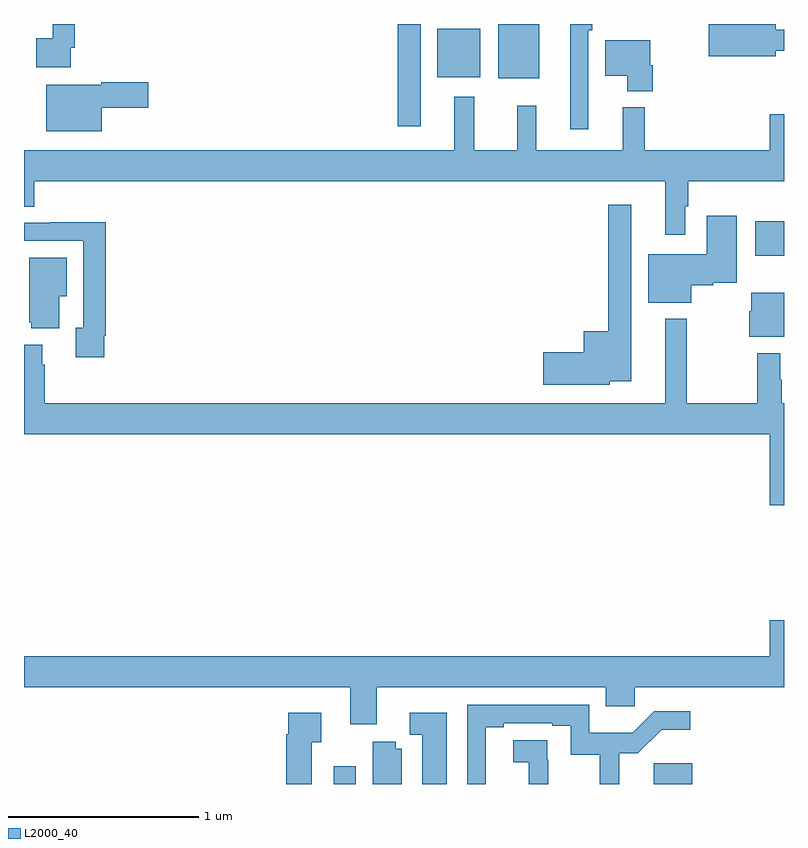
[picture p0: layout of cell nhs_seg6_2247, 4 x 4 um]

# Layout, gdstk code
import gdstk
lib = gdstk.Library(unit=1e-6, precision=1e-09)
def R(c, l, rs):  # rectangles x0, y0, x1, y1
    for r in rs: c.add(gdstk.rectangle(r[:2], r[2:], *l))
def P(c, l, *ps):  # polygons
    for p in ps: c.add(gdstk.Polygon(p, *l))
L2000_40 = (2000, 40)

nhs_seg6_2247 = lib.new_cell('nhs_seg6_2247')
R(nhs_seg6_2247, L2000_40, [(246.63,941.5,246.747,941.593), (248.315,941.5,248.518,941.608), (248.849,944.279,249,944.461), (246.966,944.961,247.087,945.5), (247.496,945.215,247.711,945.5), (247.175,945.221,247.402,945.475)])
P(nhs_seg6_2247, L2000_40, [(245.247,945.376),(245.267,945.376),(245.267,945.5),(245.15,945.5),(245.15,945.425),(245.064,945.425),(245.064,945.272),(245.247,945.272)],
  [(247.971,945.467),(247.991,945.467),(247.991,945.5),(247.874,945.5),(247.874,944.946),(247.971,944.946)],
  [(248.956,945.36),(249,945.36),(249,945.469),(248.956,945.469),(248.956,945.5),(248.604,945.5),(248.604,945.329),(248.956,945.329)],
  [(248.309,945.282),(248.296,945.282),(248.296,945.415),(248.06,945.415),(248.06,945.227),(248.174,945.227),(248.174,945.146),(248.309,945.146)],
  [(245.41,945.059),(245.653,945.059),(245.653,945.194),(245.406,945.194),(245.406,945.181),(245.117,945.181),(245.117,944.936),(245.41,944.936)],
  [(248.479,944.54),(248.497,944.54),(248.497,944.672),(249,944.672),(249,945.025),(248.924,945.025),(248.924,944.836),(248.267,944.836),(248.267,945.061),(248.15,945.061),(248.15,944.836),(247.697,944.836),(247.697,945.07),(247.597,945.07),(247.597,944.836),(247.369,944.836),(247.369,945.118),(247.265,945.118),(247.265,944.836),(245,944.836),(245,944.539),(245.054,944.539),(245.054,944.672),(248.375,944.672),(248.375,944.391),(248.479,944.391)],
  [(248.082,943.619),(248.197,943.619),(248.197,944.548),(248.076,944.548),(248.076,943.882),(247.946,943.882),(247.946,943.772),(247.734,943.772),(247.734,943.601),(248.082,943.601)],
  [(248.512,944.126),(248.628,944.126),(248.628,944.138),(248.752,944.138),(248.752,944.491),(248.594,944.491),(248.594,944.287),(248.285,944.287),(248.285,944.033),(248.512,944.033)],
  [(245.422,943.858),(245.429,943.858),(245.429,944.456),(245.137,944.456),(245.137,944.454),(245,944.454),(245,944.358),(245.313,944.358),(245.313,943.902),(245.273,943.902),(245.273,943.746),(245.422,943.746)],
  [(245.185,944.066),(245.224,944.066),(245.224,944.269),(245.027,944.269),(245.027,943.929),(245.039,943.929),(245.039,943.898),(245.185,943.898)],
  [(249,944.086),(248.828,944.086),(248.828,943.989),(248.816,943.989),(248.816,943.853),(249,943.853)],
  [(249,943.504),(248.987,943.504),(248.987,943.628),(248.98,943.628),(248.98,943.768),(248.859,943.768),(248.859,943.504),(248.489,943.504),(248.489,943.948),(248.375,943.948),(248.375,943.504),(245.108,943.504),(245.108,943.706),(245.095,943.706),(245.095,943.813),(245,943.813),(245,943.34),(248.924,943.34),(248.924,942.966),(249,942.966)],
  [(246.856,942.008),(248.063,942.008),(248.063,941.91),(248.215,941.91),(248.215,942.008),(249,942.008),(249,942.361),(248.924,942.361),(248.924,942.172),(245,942.172),(245,942.008),(246.716,942.008),(246.716,941.814),(246.856,941.814)],
  [(247.431,941.537),(247.429,941.537),(247.429,941.8),(247.525,941.8),(247.525,941.82),(247.781,941.82),(247.781,941.806),(247.878,941.806),(247.878,941.653),(248.029,941.653),(248.029,941.5),(248.132,941.5),(248.132,941.661),(248.231,941.661),(248.357,941.786),(248.506,941.786),(248.506,941.883),(248.316,941.883),(248.203,941.77),(247.974,941.77),(247.974,941.916),(247.332,941.916),(247.332,941.5),(247.431,941.5)],
  [(246.514,941.719),(246.565,941.719),(246.565,941.875),(246.392,941.875),(246.392,941.762),(246.38,941.762),(246.38,941.5),(246.514,941.5)],
  [(247.225,941.875),(247.029,941.875),(247.029,941.76),(247.097,941.76),(247.097,941.5),(247.225,941.5)],
  [(247.76,941.627),(247.754,941.627),(247.754,941.729),(247.575,941.729),(247.575,941.614),(247.657,941.614),(247.657,941.5),(247.76,941.5)],
  [(246.988,941.686),(246.956,941.686),(246.956,941.723),(246.836,941.723),(246.836,941.5),(246.988,941.5)])

lib.write_gds('nhs_seg6_2247.gds')
